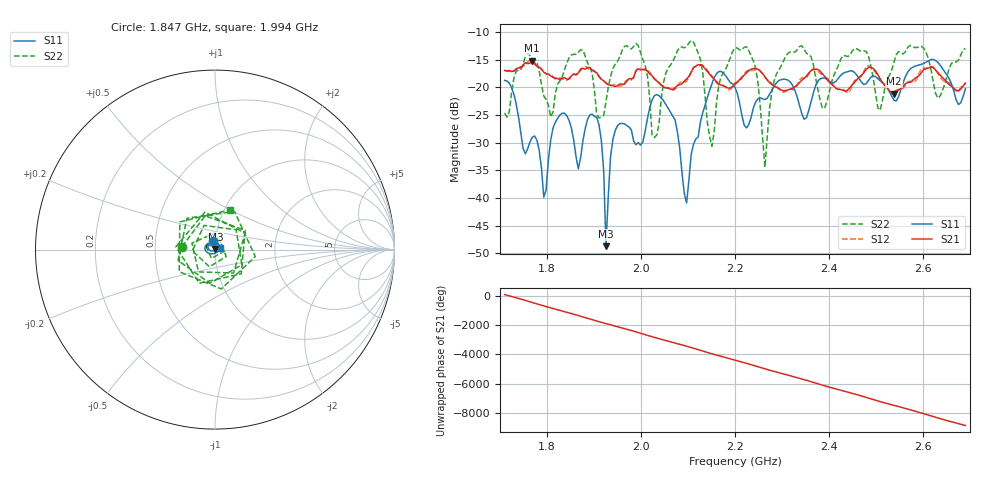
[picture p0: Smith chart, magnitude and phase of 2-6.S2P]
!Agilent Technologies,E5061B,MY49305579,A.02.22
!Date: Thu Aug 24 16:27:52 2017
!Data & Calibration Information:
!Freq	S11:SOLT2(ON)	S21:SOLT2(ON)	S12:SOLT2(ON)	S22:SOLT2(ON)
# Hz S dB R 50
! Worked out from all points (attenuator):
!   201 points, 1.71 GHz to 2.69 GHz, reference 50 ohm
!   highest |S21| = -15.20 dB at 1.769 GHz (marker M1); lowest = -21.2 dB at 2.538 GHz (marker M2)
!   lowest |S11| = -48.7 dB at 1.926 GHz (marker M3), VSWR 1.01, Z = 50.2 + j0.287 ohm
!   |S11| at or under -10 dB: start of sweep to end of sweep
!   |S22| runs from -34.4 to -11.5 dB; largest |S21 - S12| = 0.013
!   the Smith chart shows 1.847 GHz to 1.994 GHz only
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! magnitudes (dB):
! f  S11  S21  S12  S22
! 1.71 GHz  -18.8  -16.9  -16.9  -24.7
! 1.769 GHz  -29.0  -15.2  -15.4  -14.8
! 1.793 GHz  -39.9  -17.3  -17.2  -21.5
! 1.808 GHz  -29.6  -17.9  -17.8  -25.3
! 1.877 GHz  -29.7  -16.6  -16.3  -13.3
! 1.911 GHz  -26.8  -18.0  -18.1  -25.5
! 1.926 GHz  -48.7  -19.2  -19.2  -22.6
! 1.945 GHz  -27.8  -19.8  -19.5  -15.8
! 1.994 GHz  -30.0  -16.7  -16.5  -12.5
! 2.038 GHz  -21.5  -19.1  -19.2  -26.6
! 2.097 GHz  -40.9  -18.5  -18.9  -12.6
! 2.151 GHz  -19.3  -18.1  -17.9  -30.7
! 2.2 GHz  -20.0  -19.4  -19.2  -12.8
! 2.244 GHz  -22.6  -16.6  -16.7  -16.6
! 2.264 GHz  -22.2  -18.1  -18.1  -34.4
! 2.288 GHz  -19.2  -20.0  -19.8  -17.6
! 2.367 GHz  -21.0  -16.8  -16.6  -15.9
! 2.386 GHz  -18.3  -17.5  -17.8  -23.8
! 2.528 GHz  -20.8  -20.6  -20.7  -17.8
! 2.538 GHz  -22.3  -21.2  -20.8  -15.5
! 2.631 GHz  -15.5  -17.3  -17.5  -21.9
! 2.69 GHz  -20.3  -19.3  -19.2  -13.0
